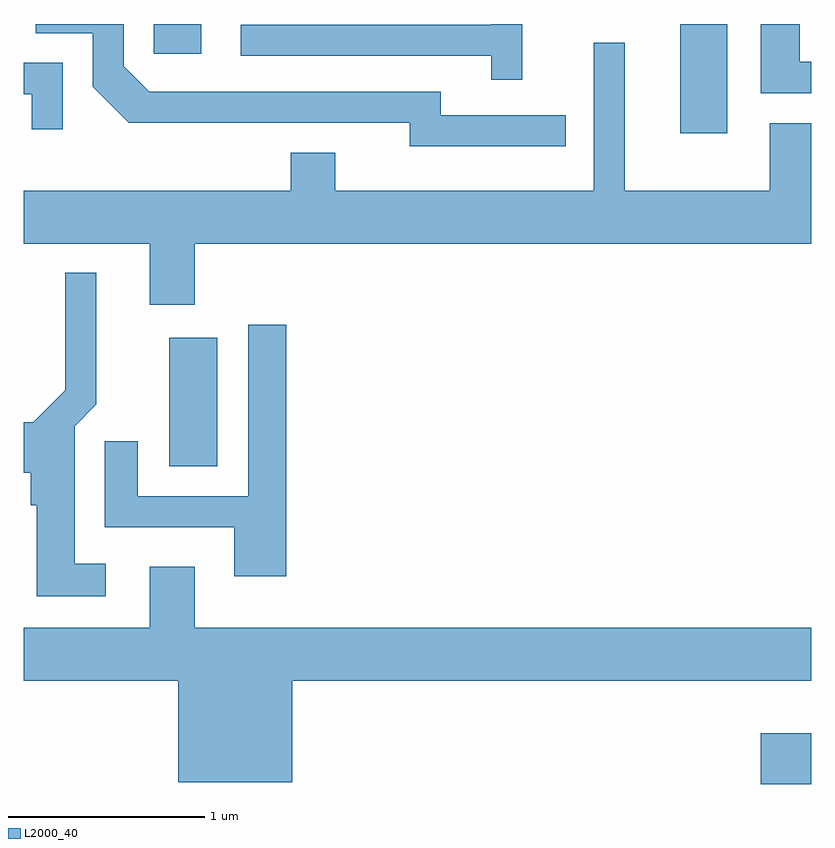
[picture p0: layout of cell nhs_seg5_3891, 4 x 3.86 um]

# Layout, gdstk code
import gdstk
lib = gdstk.Library(unit=1e-6, precision=1e-09)
def R(c, l, rs):  # rectangles x0, y0, x1, y1
    for r in rs: c.add(gdstk.rectangle(r[:2], r[2:], *l))
def P(c, l, *ps):  # polygons
    for p in ps: c.add(gdstk.Polygon(p, *l))
L2000_40 = (2000, 40)

nhs_seg5_3891 = lib.new_cell('nhs_seg5_3891')
R(nhs_seg5_3891, L2000_40, [(303.356,1516.211,303.611,1516.469), (300.351,1517.826,300.594,1518.479), (302.946,1519.516,303.184,1520.072), (300.271,1519.921,300.513,1520.072)])
P(nhs_seg5_3891, L2000_40, [(302.144,1520.072),(301.986,1520.072),(301.986,1520.069),(300.713,1520.069),(300.713,1519.911),(301.986,1519.911),(301.986,1519.788),(302.144,1519.788)],
  [(303.611,1519.879),(303.554,1519.879),(303.554,1520.072),(303.356,1520.072),(303.356,1519.721),(303.611,1519.721)],
  [(302.363,1519.609),(301.729,1519.609),(301.729,1519.729),(300.247,1519.729),(300.119,1519.857),(300.119,1520.072),(299.671,1520.072),(299.671,1520.026),(299.961,1520.026),(299.961,1519.754),(300.144,1519.571),(301.571,1519.571),(301.571,1519.451),(302.363,1519.451)],
  [(300.479,1518.956),(303.611,1518.956),(303.611,1519.569),(303.401,1519.569),(303.401,1519.224),(302.664,1519.224),(302.664,1519.978),(302.506,1519.978),(302.506,1519.224),(301.194,1519.224),(301.194,1519.419),(300.966,1519.419),(300.966,1519.224),(299.611,1519.224),(299.611,1518.956),(300.251,1518.956),(300.251,1518.646),(300.479,1518.646)],
  [(299.809,1519.874),(299.611,1519.874),(299.611,1519.716),(299.651,1519.716),(299.651,1519.538),(299.809,1519.538)],
  [(300.028,1517.329),(299.869,1517.329),(299.869,1518.029),(299.979,1518.139),(299.979,1518.808),(299.821,1518.808),(299.821,1518.212),(299.659,1518.049),(299.611,1518.049),(299.611,1517.791),(299.646,1517.791),(299.646,1517.626),(299.676,1517.626),(299.676,1517.166),(300.028,1517.166)],
  [(300.944,1518.544),(300.751,1518.544),(300.751,1517.674),(300.189,1517.674),(300.189,1517.953),(300.021,1517.953),(300.021,1517.516),(300.681,1517.516),(300.681,1517.266),(300.944,1517.266)],
  [(300.974,1516.736),(303.611,1516.736),(303.611,1517.004),(300.479,1517.004),(300.479,1517.314),(300.251,1517.314),(300.251,1517.004),(299.611,1517.004),(299.611,1516.736),(300.396,1516.736),(300.396,1516.221),(300.974,1516.221)])

lib.write_gds('nhs_seg5_3891.gds')
